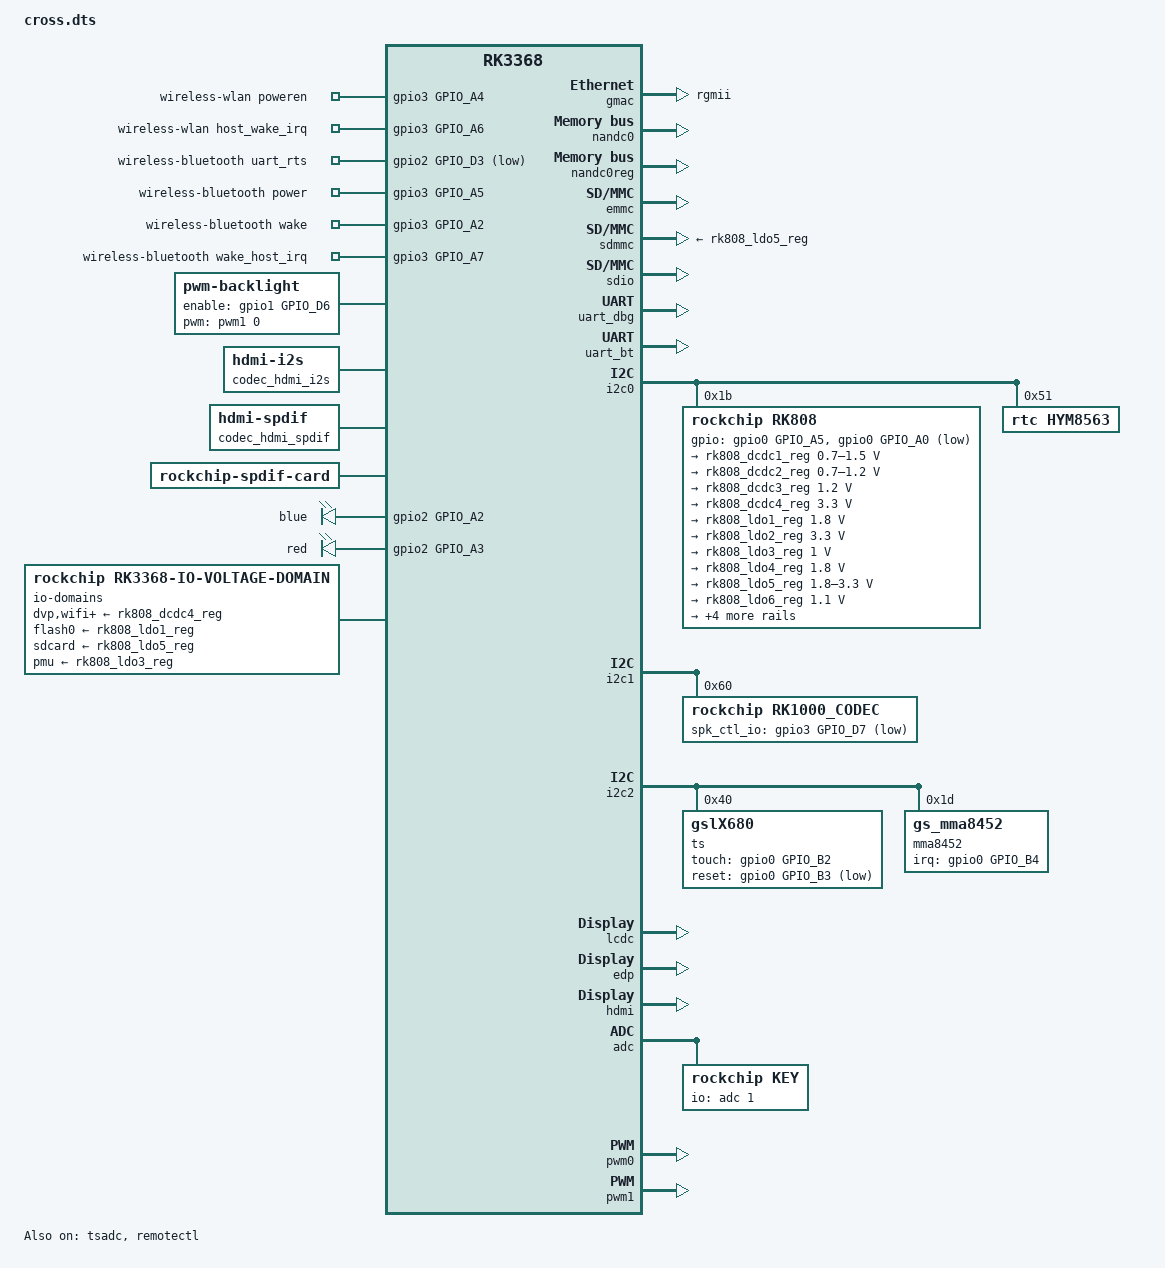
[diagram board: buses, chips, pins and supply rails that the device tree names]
/dts-v1/;

// rk3368-box-r88_808.dts
#include <dt-bindings/interrupt-controller/arm-gic.h>
#include <dt-bindings/rkfb/rk_fb.h>
#include <dt-bindings/input/input.h>
#include "rk3368.dtsi"
#include "lcd-lp079qx1.dtsi"


/ {
	chosen {
		bootargs = "earlyprintk=uart8250-32bit,0xff690000";
	};

	wireless-wlan {
		compatible = "wlan-platdata";
                rockchip,grf = <&grf>;
                wifi_chip_type = "ap6354";

		sdio_vref = <1800>; //1800mv or 3300mv

		//keep_wifi_power_on;

		//power_ctrl_by_pmu;	// gQues
 		power_pmu_regulator = "rk808_ldo7_reg";
		power_pmu_enable_level = <1>; //1->HIGH, 0->LOW

		vref_pmu_regulator = "rk808_ldo7_reg";
		vref_pmu_enable_level = <1>; //1->HIGH, 0->LOW

		WIFI,poweren_gpio = <&gpio3 GPIO_A4 GPIO_ACTIVE_HIGH>;
		WIFI,host_wake_irq = <&gpio3 GPIO_A6 GPIO_ACTIVE_HIGH>;

		status = "okay";
	};

	wireless-bluetooth {
		compatible = "bluetooth-platdata";

		//wifi-bt-power-toggle;

		uart_rts_gpios = <&gpio2 GPIO_D3 GPIO_ACTIVE_LOW>;
		pinctrl-names = "default","rts_gpio";
		pinctrl-0 = <&uart0_rts>;
		pinctrl-1 = <&uart0_rts_gpio>;

		BT,power_gpio = <&gpio3 GPIO_A5 GPIO_ACTIVE_HIGH>;
		BT,wake_gpio = <&gpio3 GPIO_A2 GPIO_ACTIVE_HIGH>;
		BT,wake_host_irq = <&gpio3 GPIO_A7 GPIO_ACTIVE_HIGH>;
		status = "okay";
	};

	backlight: backlight {
		compatible = "pwm-backlight";
		pwms = <&pwm1 0 2000>;
		brightness-levels = <255 254 253 252 251 250 249 248 247 246 245 244 243 242 241 240
		     239 238 237 236 235 234 233 232 231 230 229 228 227 226 225 224 223 222 221 220
		     219 218 217 216 215 214 213 212 211 210 209 208 207 206 205 204 203 202 201 200
		     199 198 197 196 195 194 193 192 191 190 189 188 187 186 185 184 183 182 181 180
		     179 178 177 176 175 174 173 172 171 170 169 168 167 166 165 164 163 162 161 160
		     159 158 157 156 155 154 153 152 151 150 149 148 147 146 145 144 143 142 141 140
		     139 138 137 136 135 134 133 132 131 130 129 128 127 126 125 124 123 122 121 120
		     119 118 117 116 115 114 113 112 111 110 109 108 107 106 105 104 103 102 101 100
		     99 98 97 96 95 94 93 92 91 90 89 88 87 86 85 84 83 82 81 80 79 78 77 76 75 74 73 72 71 70
		     69 68 67 66 65 64 63 62 61 60 59 58 57 56 55 54 53 52 51 50 49 48 47 46 45 44 43 42 41 40
		     39 38 37 36 35 34 33 32 31 30 29 28 27 26 25 24 23 22 21 20 19 18 17 16 15 14 13 12 11 10
		     9 8 7 6 5 4 3 2 1 0>;
		default-brightness-level = <160>;
		enable-gpios = <&gpio1 GPIO_D6 GPIO_ACTIVE_HIGH>;
	};

	codec_hdmi_i2s: codec-hdmi-i2s {
		compatible = "hdmi-i2s";
	};

	codec_hdmi_spdif: codec-hdmi-spdif {
		compatible = "hdmi-spdif";
	};

	rockchip-hdmi-i2s {
		status = "disabled";
		compatible = "rockchip-hdmi-i2s";
		dais {
			dai0 {
				audio-codec = <&codec_hdmi_i2s>;
				i2s-controller = <&i2s0>;
				format = "i2s";
			};
		};
	};
	
	rockchip-spdif-card {
			compatible = "rockchip-spdif-card";
			dais {
				dai0 {
					audio-codec = <&codec_hdmi_spdif>;
					i2s-controller = <&spdif>;
				};
			};
		};
	rockchip-rk1000 {
		compatible = "rockchip-rk1000";
		dais {
			dai0 {
				audio-codec = <&rk1000_codec>;
				i2s-controller = <&i2s0>;
				format = "i2s";
			};
		};
	};
	power-led {
		compatible = "gpio-leds";
		blue {
			gpios = <&gpio2 GPIO_A2 GPIO_ACTIVE_HIGH>;
			default-state = "on";
		};
		red {
			gpios = <&gpio2 GPIO_A3 GPIO_ACTIVE_HIGH>;
			default-state = "off";
		};
	};
	io-domains {
		compatible = "rockchip,rk3368-io-voltage-domain";
		rockchip,grf = <&grf>;
		rockchip,pmugrf = <&pmugrf>;

		/*GRF_IO_VSEL*/
		dvp-supply = <&rk808_dcdc4_reg>;      /*DVPIO_VDD*/
		flash0-supply = <&rk808_ldo1_reg>;  /*FLASH0_VDD*/
		wifi-supply = <&rk808_dcdc4_reg>;     /*APIO2_VDD*/
		audio-supply = <&rk808_dcdc4_reg>;   /*APIO3_VDD*/
		sdcard-supply = <&rk808_ldo5_reg>;   /*SDMMC0_VDD*/
		gpio30-supply = <&rk808_dcdc4_reg>;  /*APIO1_VDD*/
		gpio1830-supply = <&rk808_dcdc4_reg>;/*ADIO4_VDD*/
		
		/*PMU_GRF_IO_VSEL*/
		pmu-supply = <&rk808_ldo3_reg>;      /*PMUIO_VDD*/
		vop-supply = <&rk808_ldo8_reg>;      /*LCDC_VDD*/
	};
};

&gmac_clkin {
        clock-frequency = <125000000>;
};

&gmac {
	phy-mode = "rgmii";
	pinctrl-names = "default";
	pinctrl-0 = <&rgmii_pins>;
	clock_in_out = "input";
	tx_delay = <0x28>;
	rx_delay = <0x10>;
	status = "okay";
};

&pinctrl {
	//used for init some gpio
	init-gpios = <&gpio0 GPIO_A6 GPIO_ACTIVE_HIGH
	&gpio0 GPIO_B1 GPIO_ACTIVE_LOW>;
	
	gpio0_gpio {
		gpio0_c7: gpio0-c7 {
		rockchip,pins = <0 GPIO_C7 RK_FUNC_GPIO &pcfg_pull_down>;
	};
	gpio0_a3: gpio0-a3 {
		rockchip,pins = <0 GPIO_A3 RK_FUNC_3 &pcfg_pull_none>;
	};
	gpio0_c2: gpio0-c2 {
		rockchip,pins = <0 GPIO_C2 RK_FUNC_GPIO &pcfg_pull_down>;
	};
	gpio0_a5: gpio0-a5{
		rockchip,pins = <0 GPIO_A5 RK_FUNC_GPIO &pcfg_pull_up>;
	};
	//to add
	};

};

&nandc0 {
	status = "okay"; // used nand set "disabled" ,used emmc set "okay"
};

&nandc0reg {
	status = "okay"; // used nand set "disabled" ,used emmc set "okay"
};

&emmc {
	clock-frequency = <150000000>;
	clock-freq-min-max = <400000 150000000>;

	supports-highspeed;
	supports-emmc;
	bootpart-no-access;

	//supports-sd;
	supports-DDR_MODE; //you should set the two value in your project. only close in RK3288-SDK board.
	caps2-mmc-hs200;

	ignore-pm-notify;
	keep-power-in-suspend;

	//poll-hw-reset
	status = "okay";
};

&sdmmc {
	clock-frequency = <50000000>;
	clock-freq-min-max = <400000 50000000>;
	supports-highspeed;
	supports-sd;
	broken-cd;
	card-detect-delay = <200>;
	
	ignore-pm-notify;
	keep-power-in-suspend;
	
	vmmc-supply = <&rk808_ldo5_reg>;
	status = "okay";
};

&sdio {
	clock-frequency = <50000000>;
	clock-freq-min-max = <200000 50000000>;
	supports-highspeed;
	supports-sdio;
	ignore-pm-notify;
	keep-power-in-suspend;
	//cap-sdio-irq;
	status = "okay";
};

&uart_dbg {
	status = "okay";
};

&uart_bt {
	status = "okay";
	dma-names = "!tx", "!rx";
	pinctrl-0 = <&uart0_xfer &uart0_cts>;
};

&tsadc {
       tsadc-tshut-mode = <0>; /* tshut mode 0:CRU 1:GPIO */
       //tsadc-tshut-polarity = <0>; /* tshut polarity 0:LOW 1:HIGH */
       status = "okay";
};

&i2c0 {
	status = "okay";
	rk808: rk808@1b {
		reg = <0x1b>;
		status = "okay";
		compatible = "rockchip,rk808";
	};	
	rtc@51 {
		compatible = "rtc,hym8563";
		reg = <0x51>;
		/*box not used rtc irq,and this pin used as rk1000 spk ctrl*/
		#irq_gpio = <&gpio0 GPIO_A1 IRQ_TYPE_EDGE_FALLING>;
	};

};

&i2c1 {
	status = "okay";
	rk1000_codec: rk1000_codec@60 {
		compatible = "rockchip,rk1000_codec";
		reg = <0x60>;
		spk_ctl_io = <&gpio3 GPIO_D7 GPIO_ACTIVE_LOW>;
		boot_depop = <1>;
		pa_enable_time = <5000>;
		status = "okay";
	};
};

&i2c2 {
	status = "okay";
	ts@40 {
		compatible = "gslX680";
		reg = <0x40>;
		touch-gpio = <&gpio0 GPIO_B2 IRQ_TYPE_LEVEL_LOW>;
		reset-gpio = <&gpio0 GPIO_B3 GPIO_ACTIVE_LOW>;          
		status = "okay";
	};
	mma8452:sensor@1d {
		compatible = "gs_mma8452";
		reg = <0x1d>;
		type = <SENSOR_TYPE_ACCEL>;
		irq-gpio = <&gpio0 GPIO_B4 IRQ_TYPE_EDGE_FALLING>;
		irq_enable = <1>;
		poll_delay_ms = <30>;
		layout = <1>;
		status = "okay";
	};
};

&i2c3 {
	status = "disabled";
};

&i2c4 {
	status = "disabled";
};

&i2c5 {
	status = "disabled";
};

&CPU_SLEEP_0 {
	arm,psci-suspend-param = <0x1010000>;
};

&fb {
	rockchip,disp-mode = <NO_DUAL>;
	rockchip,uboot-logo-on = <0>;
};

&rk_screen {
	display-timings = <&disp_timings>;
};


&lcdc {
	status = "okay";
	backlight = <&backlight>;
	rockchip,mirror = <NO_MIRROR>;
	rockchip,cabc_mode = <0>;
	rockchip,fb-win-map = <FB_DEFAULT_ORDER>;
	power_ctr: power_ctr {
		rockchip,debug = <0>;
		lcd_en:lcd_en {
			rockchip,power_type = <GPIO>;
			gpios = <&gpio1 GPIO_D5 GPIO_ACTIVE_HIGH>;
			rockchip,delay = <120>;
		};
	};
};

&edp{
	status = "okay";
};

&hdmi {
	status = "okay";
	rockchip,cec_enable = <1>;
};

&adc {
	status = "okay";

	key {
		compatible = "rockchip,key";
		io-channels = <&adc 1>;

		power-key {
			gpios = <&gpio0 GPIO_A2 GPIO_ACTIVE_LOW>;
			linux,code = <116>;
			label = "power";
			gpio-key,wakeup;
		};

	};
};

&pwm0 {
        status = "okay";
};

&pwm1 {
	status = "okay";
};

&clk_core_b_dvfs_table {
	operating-points = <
		/* KHz    uV */
		//216000 950000
		312000 950000
		408000 950000
		600000 975000
		696000 975000
		816000 1000000
		1008000 1100000
		1200000 1175000
		1416000 1300000
		1488000 1325000
		1512000 1350000
		>;
	status = "okay";
};

&clk_core_l_dvfs_table {
	operating-points = <
		/* KHz    uV */
		//216000 950000
		312000 950000
		408000 950000
		600000 950000
		696000 975000
		816000 1050000
		1008000 1100000
		1200000 1250000
		//1300000 1300000
		>;
	status = "okay";
};

&clk_gpu_dvfs_table {
	operating-points = <
		/* KHz    uV */
		//200000 1200000
		300000 1200000
		400000 1200000
		600000 1200000
		>;
};

&clk_ddr_dvfs_table {
	operating-points = <
		/* KHz    uV */
		200000 1050000
		300000 1050000
		400000 1100000
		533000 1150000
		800000 1200000
		>;

	freq-table = <
		/*status		freq(KHz)*/
		SYS_STATUS_NORMAL	800000
		/*SYS_STATUS_SUSPEND	200000
		SYS_STATUS_VIDEO_1080P  240000
		SYS_STATUS_VIDEO_4K     400000
		SYS_STATUS_PERFORMANCE  528000
		SYS_STATUS_DUALVIEW	400000
		SYS_STATUS_BOOST	324000
		SYS_STATUS_ISP		400000*/
		>;
	auto-freq-table = <
		240000
		324000
		396000
		528000
		>;
	auto-freq=<0>;
	status="okay";
};

&dwc_control_usb {
		otg_drv_gpio = <&gpio0 GPIO_A4 GPIO_ACTIVE_LOW>;

		rockchip,remote_wakeup;
		rockchip,usb_irq_wakeup;
	};
	
&usb0 {
	/*0 - Normal, 1 - Force Host, 2 - Force Device*/
	rockchip,usb-mode = <0>;
};

#include  "../../../arm/boot/dts/rk808.dtsi"
&rk808 {
	gpios =<&gpio0 GPIO_A5 GPIO_ACTIVE_HIGH>,<&gpio0 GPIO_A0 GPIO_ACTIVE_LOW>;
	rk808,system-power-controller;

	regulators {

		rk808_dcdc1_reg: regulator@0{
			regulator-name= "vdd_arm";/*vcc arm*/
			regulator-min-microvolt = <700000>;/*<725000>;*/
			regulator-max-microvolt = <1500000>;
			regulator-always-on;
			regulator-boot-on;
			regulator-initial-mode = <0x2>;
			regulator-initial-state = <3>;
			regulator-state-mem {
				regulator-state-mode = <0x2>;
				regulator-state-disabled;
				regulator-state-uv =<900000>;
			};
		};

		rk808_dcdc2_reg: regulator@1 {
			regulator-name= "vdd_logic";/*vcc gpu*/
			regulator-min-microvolt = <700000>;
			regulator-max-microvolt = <1200000>;
			regulator-always-on;
			regulator-boot-on;
			regulator-initial-mode = <0x2>;
			regulator-initial-state = <3>;
			regulator-state-mem {
				regulator-state-mode = <0x2>;
				regulator-state-enabled;
				regulator-state-uv = <1200000>;
			};
		};

		rk808_dcdc3_reg: regulator@2 {
			regulator-name= "vcc_ddr";
			regulator-min-microvolt = <1200000>;
			regulator-max-microvolt = <1200000>;
			regulator-always-on;
			regulator-boot-on;			
			regulator-initial-mode = <0x2>;
			regulator-initial-state = <3>;
			regulator-state-mem {
				regulator-state-mode = <0x2>;
				regulator-state-enabled;
				regulator-state-uv = <1200000>;
			};
		};

		rk808_dcdc4_reg: regulator@3 {
			regulator-name= "vccio";
			regulator-min-microvolt = <3300000>;
			regulator-max-microvolt = <3300000>;
			regulator-always-on;
			regulator-boot-on;			
			regulator-initial-mode = <0x2>;
			regulator-initial-state = <3>;
			regulator-state-mem {
				regulator-state-mode = <0x2>;
				regulator-state-enabled;
				regulator-state-uv = <3000000>;
			};
		};

		rk808_ldo1_reg: regulator@4 {
			regulator-name= "vcc_flash";
			regulator-min-microvolt = <1800000>;
			regulator-max-microvolt = <1800000>;
			regulator-always-on;
			regulator-boot-on;			
			regulator-initial-state = <3>;
			regulator-state-mem {
				regulator-state-enabled;
				regulator-state-uv = <1800000>;
			};
		};


		rk808_ldo2_reg: regulator@5 {
			regulator-name= "vcca_33";
			regulator-min-microvolt = <3300000>;
			regulator-max-microvolt = <3300000>;
			regulator-always-on;
			regulator-boot-on;			
			regulator-initial-state = <3>;
			regulator-state-mem {
				regulator-state-disabled;
				regulator-state-uv = <3300000>;
			};
		};		

		rk808_ldo3_reg: regulator@6 {
			regulator-name= "vdd_10";
			regulator-min-microvolt = <1000000>;
			regulator-max-microvolt = <1000000>;
			regulator-always-on;		
			regulator-initial-state = <3>;
			regulator-state-mem {
				regulator-state-enabled;
				regulator-state-uv = <1000000>;
			};
		};

		rk808_ldo4_reg:regulator@7 {
			regulator-name= "vcca_18";
			regulator-min-microvolt = <1800000>;
			regulator-max-microvolt = <1800000>;
			//regulator-always-on;
			regulator-boot-on;			
			regulator-initial-state = <3>;
			regulator-state-mem {
				regulator-state-disabled;
				regulator-state-uv = <1800000>;
			};
		};

		rk808_ldo5_reg: regulator@8 {
			regulator-name= "vccio_sd";
			regulator-min-microvolt = <1800000>;
			regulator-max-microvolt = <3300000>;
			regulator-always-on;
			regulator-boot-on;			
			regulator-initial-state = <3>;
			regulator-state-mem {
				regulator-state-enabled;
				regulator-state-uv = <3300000>;
			};
		};

		rk808_ldo6_reg: regulator@9 {
			regulator-name= "vdd10_lcd";
			regulator-min-microvolt = <1100000>;
			regulator-max-microvolt = <1100000>;
			regulator-always-on;
			regulator-boot-on;			
			regulator-initial-state = <3>;
			regulator-state-mem {
				regulator-state-disabled;
				regulator-state-uv = <1100000>;
			};
		};

		rk808_ldo7_reg: regulator@10 {
			regulator-name= "vcc_18";
			regulator-min-microvolt = <1800000>;
			regulator-max-microvolt = <1800000>;
			regulator-always-on;
			regulator-boot-on;			
			regulator-initial-state = <3>;
			regulator-state-mem {
				regulator-state-enabled;
				regulator-state-uv = <1800000>;
			};
		};

		rk808_ldo8_reg: regulator@11 {
			regulator-name= "vccio18_lcd";
			regulator-min-microvolt = <1800000>;
			regulator-max-microvolt = <1800000>;
			regulator-always-on;
			regulator-boot-on;			
			regulator-initial-state = <3>;
			regulator-state-mem {
				regulator-state-disabled;
				regulator-state-uv = <1800000>;
			};
		};
		
		rk808_ldo9_reg: regulator@12 {
			regulator-name= "vcc_sd";
			regulator-min-microvolt = <1800000>;
			regulator-max-microvolt = <3300000>;
			regulator-always-on;
			regulator-boot-on;			
			regulator-initial-state = <3>;
			regulator-state-mem {
				regulator-state-enabled;
				regulator-state-uv = <3300000>;
			};
		};

		rk808_ldo10_reg: regulator@13 {
			regulator-name= "vcc_lan";
			regulator-min-microvolt = <3300000>;
			regulator-max-microvolt = <3300000>;
			regulator-always-on;
			regulator-boot-on;			
			regulator-initial-state = <3>;
			regulator-state-mem {
				regulator-state-disabled;
				regulator-state-uv = <3300000>;
			};
		};

	};
};

&ion_cma {
       reg = <0x00000000 0x00000000>; /* 0MB */
};

&remotectl {
	handle_cpu_id = <1>;
	status = "okay";
	ir_key1{
		rockchip,usercode = <0xff00>;
		rockchip,key_table =
            <0xeb   KEY_POWER>,
            <0xec   KEY_MENU>,
            <0xfc   KEY_UP>,
            <0xfd   KEY_DOWN>,
            <0xf1   KEY_LEFT>,
            <0xe5   KEY_RIGHT>,
            <0xf8   KEY_REPLY>,
            <0xa7   KEY_VOLUMEDOWN>,
            <0xa3   388>,
            <0xf4   KEY_VOLUMEUP>,
            <0xfe   KEY_BACK>,
            <0xb7   KEY_HOME>;
	};
};
